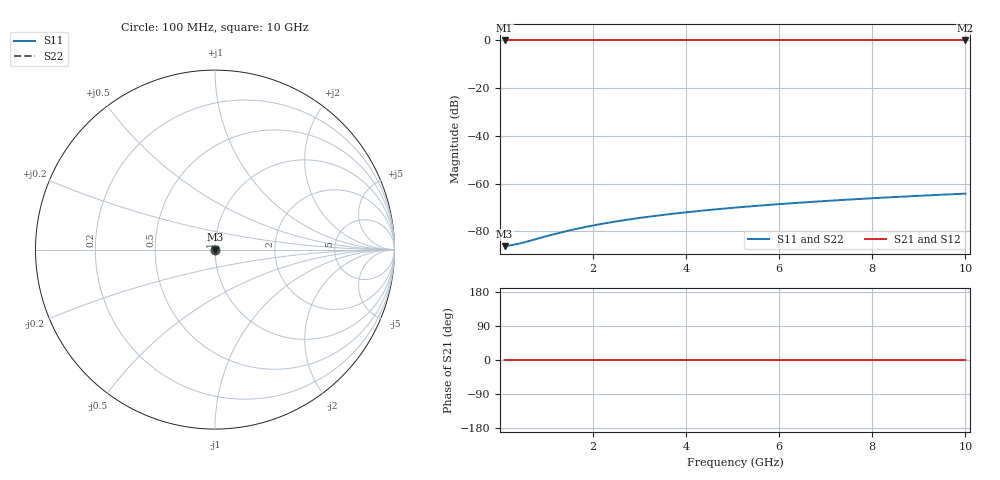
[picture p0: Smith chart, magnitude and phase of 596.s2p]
# Hz S RI R 50.00
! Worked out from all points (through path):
!   100 points, 100 MHz to 10 GHz, reference 50 ohm
!   highest |S21| = 0.00 dB at 100 MHz (marker M1); lowest = 0.0 dB at 10 GHz (marker M2)
!   lowest |S11| = -86.2 dB at 100 MHz (marker M3), VSWR 1.00, Z = 50 + j0.000612 ohm
!   |S11| at or under -10 dB: start of sweep to end of sweep
!   |S22| runs from -86.2 to -64.2 dB; largest |S21 - S12| = 1e-15
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1e8  4.85e-05 6.12e-06  1 -8e-06  1 -8e-06  4.85e-05 6.12e-06
1.4e9  5.03e-05 8.57e-05  0.9999 -0.000112  0.9999 -0.000112  5.03e-05 8.57e-05
1.5e9  5.04e-05 9.18e-05  0.9999 -0.00012  0.9999 -0.00012  5.04e-05 9.18e-05
1.8e9  5.06e-05 0.00011  0.9999 -0.000144  0.9999 -0.000144  5.06e-05 0.00011
2.1e9  5.08e-05 0.000129  0.9999 -0.000168  0.9999 -0.000168  5.08e-05 0.000129
2.3e9  5.09e-05 0.000141  0.9999 -0.000184  0.9999 -0.000184  5.09e-05 0.000141
2.5e9  5.1e-05 0.000153  0.9999 -0.0002  0.9999 -0.0002  5.1e-05 0.000153
2.7e9  5.11e-05 0.000165  0.9999 -0.000216  0.9999 -0.000216  5.11e-05 0.000165
2.9e9  5.12e-05 0.000178  0.9999 -0.000232  0.9999 -0.000232  5.12e-05 0.000178
3.1e9  5.13e-05 0.00019  0.9999 -0.000248  0.9999 -0.000248  5.13e-05 0.00019
3.4e9  5.15e-05 0.000208  0.9999 -0.000272  0.9999 -0.000272  5.15e-05 0.000208
3.8e9  5.17e-05 0.000233  0.9999 -0.000304  0.9999 -0.000304  5.17e-05 0.000233
4.2e9  5.18e-05 0.000257  0.9999 -0.000336  0.9999 -0.000336  5.18e-05 0.000257
4.6e9  5.2e-05 0.000282  0.9999 -0.000368  0.9999 -0.000368  5.2e-05 0.000282
5.1e9  5.22e-05 0.000312  0.9999 -0.000408  0.9999 -0.000408  5.22e-05 0.000312
5.5e9  5.24e-05 0.000337  0.9999 -0.000441  0.9999 -0.000441  5.24e-05 0.000337
5.9e9  5.25e-05 0.000361  0.9999 -0.000473  0.9999 -0.000473  5.25e-05 0.000361
6.7e9  5.28e-05 0.000411  0.9999 -0.000537  0.9999 -0.000537  5.28e-05 0.000411
7.5e9  5.32e-05 0.00046  0.9999 -0.000601  0.9999 -0.000601  5.32e-05 0.00046
8.4e9  5.35e-05 0.000515  0.9999 -0.000674  0.9999 -0.000674  5.35e-05 0.000515
9.2e9  5.38e-05 0.000564  0.9999 -0.000738  0.9999 -0.000738  5.38e-05 0.000564
1e10  5.42e-05 0.000614  0.9999 -0.000802  0.9999 -0.000802  5.42e-05 0.000614
